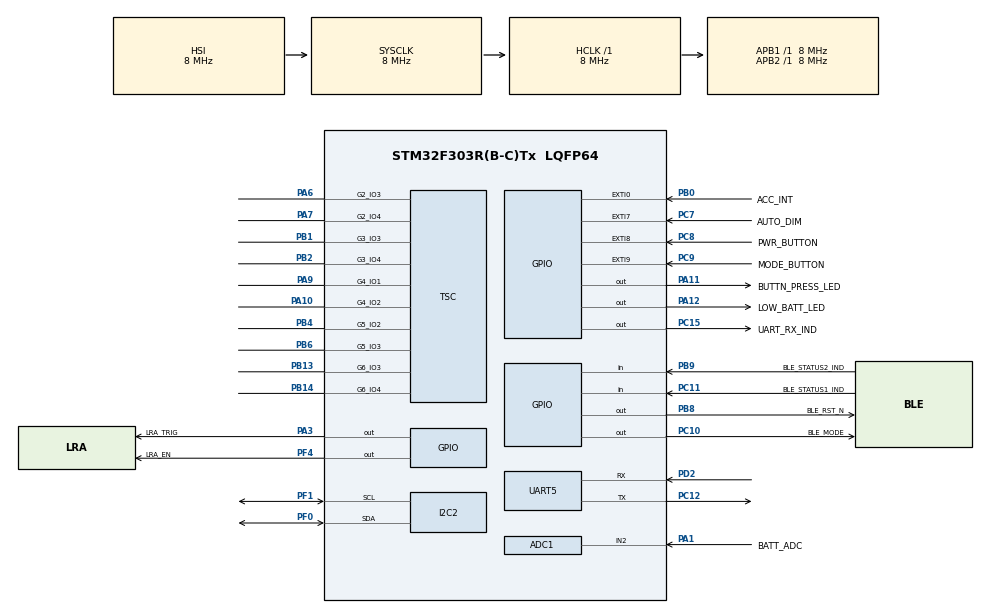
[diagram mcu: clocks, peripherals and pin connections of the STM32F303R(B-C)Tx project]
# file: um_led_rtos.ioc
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ADC1.Channel-0\#ChannelRegularConversion=ADC_CHANNEL_2
ADC1.NbrOfConversion=1
ADC1.NbrOfConversionFlag=1
ADC1.Offset-0\#ChannelRegularConversion=0
ADC1.OffsetNumber-0\#ChannelRegularConversion=ADC_OFFSET_NONE
ADC1.Rank-0\#ChannelRegularConversion=1
ADC1.SamplingTime-0\#ChannelRegularConversion=ADC_SAMPLETIME_601CYCLES_5
ADC1.master=1
FREERTOS.BinarySemaphores01=buttonPressSem,Dynamic,NULL;uartRecSem,Dynamic,NULL
FREERTOS.Mutexes01=I2C2_lock,Dynamic,NULL;blueLedLock,Dynamic,NULL;bm71Lock,Dynamic,NULL
FREERTOS.Tasks01=mainTask,24,300,StartMainTask,Default,NULL,Dynamic,NULL,NULL;buttonTask,29,64,StartButtonTask,Default,NULL,Dynamic,NULL,NULL;uartTask,27,128,StartUartRecTask,Default,NULL,Dynamic,NULL,NULL
FREERTOS.configMINIMAL_STACK_SIZE=64
FREERTOS.configUSE_NEWLIB_REENTRANT=1
Mcu.Family=STM32F3
Mcu.Name=STM32F303R(B-C)Tx
Mcu.Package=LQFP64
NVIC.EXTI0_IRQn=true\:5\:0\:true\:false\:true\:true\:true\:true\:true
NVIC.EXTI9_5_IRQn=true\:5\:0\:true\:false\:true\:true\:true\:true\:true
NVIC.PriorityGroup=NVIC_PRIORITYGROUP_4
NVIC.TIM6_DAC_IRQn=true\:15\:0\:false\:false\:true\:false\:false\:true\:true
NVIC.TimeBase=TIM6_DAC_IRQn
NVIC.TimeBaseIP=TIM6
NVIC.UART5_IRQn=true\:5\:0\:false\:false\:true\:true\:true\:true\:true
PA1.GPIO_Label=BATT_ADC
PA1.GPIO_Mode=GPIO_MODE_ANALOG
PA1.GPIO_PuPd=GPIO_NOPULL
PA1.Mode=IN2-Single-Ended
PA1.Signal=ADC1_IN2
PA10.Mode=G4_IO2-Channel
PA10.Signal=TSC_G4_IO2
PA11.GPIO_Label=BUTTN_PRESS_LED
PA11.PinState=GPIO_PIN_SET
PA11.Signal=GPIO_Output
PA12.GPIO_Label=LOW_BATT_LED
PA12.PinState=GPIO_PIN_SET
PA12.Signal=GPIO_Output
PA13.Mode=Trace_Asynchronous_SW
PA13.Signal=SYS_JTMS-SWDIO
PA14.Mode=Trace_Asynchronous_SW
PA14.Signal=SYS_JTCK-SWCLK
PA3.GPIO_Label=LRA_TRIG
PA3.Signal=GPIO_Output
PA6.Mode=G2_IO3-Sampling
PA6.Signal=TSC_G2_IO3
PA7.Mode=G2_IO4-Channel
PA7.Signal=TSC_G2_IO4
PA9.Mode=G4_IO1-Sampling
PA9.Signal=TSC_G4_IO1
PB0.GPIO_Label=ACC_INT
PB0.GPIO_ModeDefaultEXTI=GPIO_MODE_IT_RISING
PB0.Signal=GPXTI0
PB1.Mode=G3_IO3-Sampling
PB1.Signal=TSC_G3_IO3
PB13.Mode=G6_IO3-Sampling
PB13.Signal=TSC_G6_IO3
PB14.Mode=G6_IO4-Channel
PB14.Signal=TSC_G6_IO4
PB2.Mode=G3_IO4-Channel
PB2.Signal=TSC_G3_IO4
PB3.Mode=Trace_Asynchronous_SW
PB3.Signal=SYS_JTDO-TRACESWO
PB4.Mode=G5_IO2-Channel
PB4.Signal=TSC_G5_IO2
PB6.Mode=G5_IO3-Sampling
PB6.Signal=TSC_G5_IO3
PB8.GPIO_Label=BLE_RST_N
PB8.GPIO_ModeDefaultOutputPP=GPIO_MODE_OUTPUT_OD
PB8.GPIO_PuPd=GPIO_NOPULL
PB8.PinState=GPIO_PIN_SET
PB8.Signal=GPIO_Output
PB9.GPIO_Label=BLE_STATUS2_IND
PB9.Signal=GPIO_Input
PC10.GPIO_Label=BLE_MODE
PC10.GPIO_ModeDefaultOutputPP=GPIO_MODE_OUTPUT_OD
PC10.GPIO_PuPd=GPIO_NOPULL
PC10.PinState=GPIO_PIN_SET
PC10.Signal=GPIO_Output
PC11.GPIO_Label=BLE_STATUS1_IND
PC11.Signal=GPIO_Input
PC12.Mode=Asynchronous
PC12.Signal=UART5_TX
PC15-OSC32_OUT.GPIO_Label=UART_RX_IND
PC15-OSC32_OUT.Signal=GPIO_Output
PC7.GPIO_Label=AUTO_DIM
PC7.GPIO_ModeDefaultEXTI=GPIO_MODE_IT_FALLING
PC7.GPIO_PuPd=GPIO_PULLUP
PC7.Signal=GPXTI7
PC8.GPIO_Label=PWR_BUTTON
PC8.GPIO_ModeDefaultEXTI=GPIO_MODE_IT_FALLING
PC8.GPIO_PuPd=GPIO_PULLUP
PC8.Signal=GPXTI8
PC9.GPIO_Label=MODE_BUTTON
PC9.GPIO_ModeDefaultEXTI=GPIO_MODE_IT_FALLING
PC9.GPIO_PuPd=GPIO_PULLUP
PC9.Signal=GPXTI9
PD2.Mode=Asynchronous
PD2.Signal=UART5_RX
PF0-OSC_IN.GPIO_Mode=GPIO_MODE_AF_OD
PF0-OSC_IN.GPIO_Pu=GPIO_NOPULL
PF0-OSC_IN.Mode=I2C
PF0-OSC_IN.Signal=I2C2_SDA
PF1-OSC_OUT.Mode=I2C
PF1-OSC_OUT.Signal=I2C2_SCL
PF4.GPIO_Label=LRA_EN
PF4.PinState=GPIO_PIN_SET
PF4.Signal=GPIO_Output
ProjectManager.HeapSize=0x200
ProjectManager.StackSize=0x400
ProjectManager.TargetToolchain=STM32CubeIDE
RCC.AHBFreq_Value=8000000
RCC.APB1Freq_Value=8000000
RCC.APB1TimFreq_Value=8000000
RCC.APB2Freq_Value=8000000
RCC.APB2TimFreq_Value=8000000
RCC.CortexFreq_Value=8000000
RCC.HCLKFreq_Value=8000000
RCC.HSE_VALUE=8000000
RCC.HSI_VALUE=8000000
RCC.LSE_VALUE=32768
RCC.PLLMUL=RCC_PLL_MUL4
RCC.SYSCLKFreq_VALUE=8000000
RCC.USBFreq_Value=16000000
TOUCHSENSING.IO_5CH_LIN_M1_NBR1_CH1=G5_IO2
TOUCHSENSING.IO_5CH_LIN_M1_NBR1_CH1-TouchSensing_Enabled=G5_IO2
TOUCHSENSING.IO_5CH_LIN_M1_NBR1_CH2=G4_IO2
TOUCHSENSING.IO_5CH_LIN_M1_NBR1_CH3=G6_IO4
TOUCHSENSING.IO_5CH_LIN_M1_NBR1_CH4=G3_IO4
TOUCHSENSING.IO_5CH_LIN_M1_NBR1_CH5=G2_IO4
TOUCHSENSING.TSLPRM_LINROT_RESOLUTION=8
TOUCHSENSING.TSLPRM_SENSORS_DATAS=TSLPRM_USE_5CH_LIN_M1_NBR1 1 5 
TOUCHSENSING.TSLPRM_USE_4CH_LIN_M1=1
TOUCHSENSING.TSLPRM_USE_4CH_LIN_M1_NBR=0
TOUCHSENSING.TSLPRM_USE_5CH_LIN_M1=1
TOUCHSENSING.TSLPRM_USE_5CH_LIN_M1_NBR=1
TSC.CTPulseHighLength=TSC_CTPH_4CYCLES
TSC.CTPulseLowLength=TSC_CTPL_4CYCLES
TSC.ChannelIOs-G2_IO4=TSC_GROUP2_IO4
TSC.ChannelIOs-G3_IO4=TSC_GROUP3_IO4
TSC.ChannelIOs-G4_IO2=TSC_GROUP4_IO2
TSC.ChannelIOs-G5_IO2=TSC_GROUP5_IO2
TSC.ChannelIOs-G6_IO4=TSC_GROUP6_IO4
TSC.MaxCountValue=TSC_MCV_8191
TSC.PulseGeneratorPrescaler=TSC_PG_PRESC_DIV4
TSC.SamplingIOs-G2_IO3=TSC_GROUP2_IO3
TSC.SamplingIOs-G3_IO3=TSC_GROUP3_IO3
TSC.SamplingIOs-G4_IO1=TSC_GROUP4_IO1
TSC.SamplingIOs-G5_IO3=TSC_GROUP5_IO3
TSC.SamplingIOs-G6_IO3=TSC_GROUP6_IO3
VP_FREERTOS_VS_CMSIS_V2.Mode=CMSIS_V2
VP_SYS_VS_tim6.Mode=TIM6
VP_TOUCHSENSING_VS_TOUCHSENSING.Mode=TouchSensing_Enabled
board=custom

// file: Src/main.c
/* USER CODE BEGIN Header */
/**
  ******************************************************************************
  * @file           : main.c
  * @brief          : Main program body
  ******************************************************************************
  * @attention
  *
  * Copyright (c) 2025 STMicroelectronics.
  * All rights reserved.
  *
  * This software is licensed under terms that can be found in the LICENSE file
  * in the root directory of this software component.
  * If no LICENSE file comes with this software, it is provided AS-IS.
  *
  ******************************************************************************
  */
/* USER CODE END Header */
#include "main.h"
#include "cmsis_os.h"
#include "touchsensing.h"

/* USER CODE BEGIN Includes */
#include <stdio.h>
#include "tsl_user.h"
#include "drv2605l.h"
#include "mc3416.h"
#include <stdbool.h>
#include "math.h"
#include "stdlib.h"
#include "led.h"
#include "slider.h"
#include "bm71.h"
/* USER CODE END Includes */

/* USER CODE BEGIN PTD */
typedef enum {
	NONE,
	MODE,
	AUTODIM,
	POWER
} button_t;
/* USER CODE END PTD */

ADC_HandleTypeDef hadc1;

I2C_HandleTypeDef hi2c2;

TSC_HandleTypeDef htsc;

UART_HandleTypeDef huart5;

/* Definitions for mainTask */
osThreadId_t mainTaskHandle;
const osThreadAttr_t mainTask_attributes = {
  .name = "mainTask",
  .stack_size = 300 * 4,
  .priority = (osPriority_t) osPriorityNormal,
};
/* Definitions for buttonTask */
osThreadId_t buttonTaskHandle;
const osThreadAttr_t buttonTask_attributes = {
  .name = "buttonTask",
  .stack_size = 64 * 4,
  .priority = (osPriority_t) osPriorityNormal5,
};
/* Definitions for uartTask */
osThreadId_t uartTaskHandle;
const osThreadAttr_t uartTask_attributes = {
  .name = "uartTask",
  .stack_size = 128 * 4,
  .priority = (osPriority_t) osPriorityNormal3,
};
/* Definitions for I2C2_lock */
osMutexId_t I2C2_lockHandle;
const osMutexAttr_t I2C2_lock_attributes = {
  .name = "I2C2_lock"
};
/* Definitions for blueLedLock */
osMutexId_t blueLedLockHandle;
const osMutexAttr_t blueLedLock_attributes = {
  .name = "blueLedLock"
};
/* Definitions for bm71Lock */
osMutexId_t bm71LockHandle;
const osMutexAttr_t bm71Lock_attributes = {
  .name = "bm71Lock"
};
/* Definitions for buttonPressSem */
osSemaphoreId_t buttonPressSemHandle;
const osSemaphoreAttr_t buttonPressSem_attributes = {
  .name = "buttonPressSem"
};
/* Definitions for uartRecSem */
osSemaphoreId_t uartRecSemHandle;
const osSemaphoreAttr_t uartRecSem_attributes = {
  .name = "uartRecSem"
};
/* USER CODE BEGIN PV */
uint32_t currentTime;
uint32_t previousTime = 0;
volatile uint32_t lastActivity = 0;
uint32_t lastPwrPress = 0;
uint32_t lastModePress = 0;
uint32_t lastAutoDimPress = 0;
uint32_t lastMotion = 0;
uint32_t bleResetTime = 0;
uint32_t lastBattCheck = 0;
volatile bool modePressed = false;
volatile bool autoDimPresssed = false;
volatile bool pwrPressed = false;
volatile button_t buttonPressed = NONE; // in future, use flag/mask. for now this is fine as button presses are sparse
volatile bool toggleBlueActive;
/* USER CODE END PV */

void SystemClock_Config(void);
static void MX_GPIO_Init(void);
static void MX_TSC_Init(void);
static void MX_ADC1_Init(void);
static void MX_I2C2_Init(void);
static void MX_UART5_Init(void);
void StartMainTask(void *argument);
void StartButtonTask(void *argument);
void StartUartRecTask(void *argument);

int main(void)
{
  /* USER CODE BEGIN 1 */
//	printf("here!\n"); // avoid printf in RTOS
  /* USER CODE END 1 */

  /* MCU Configuration--------------------------------------------------------*/

  /* Reset of all peripherals, Initializes the Flash interface and the Systick. */
  HAL_Init();

  /* Configure the system clock */
  SystemClock_Config();

  /* Initialize all configured peripherals */
  MX_GPIO_Init();
  MX_TSC_Init();
  MX_ADC1_Init();
  MX_I2C2_Init();
  MX_TOUCHSENSING_Init();
  MX_UART5_Init();
  /* USER CODE BEGIN 2 */

  // ---------- USER PERIPHERAL INIT BEGIN ------------
  BM71_Init(&huart5);
  DRV2605L_Init(&hi2c2);
  DRV2605L_SequenceWaveform(7, 1);
  MC3416_Init(&hi2c2);
  // ---------- USER PERIPHERAL INIT END ------------

//  DRV2605L_SequenceWaveform(7, 1);
//  BM71_ReadDeviceName();
  /* USER CODE END 2 */

  /* Init scheduler */
  osKernelInitialize();
  /* Create the mutex(es) */
  /* creation of I2C2_lock */
  I2C2_lockHandle = osMutexNew(&I2C2_lock_attributes);

  /* creation of blueLedLock */
  blueLedLockHandle = osMutexNew(&blueLedLock_attributes);

  /* creation of bm71Lock */
  bm71LockHandle = osMutexNew(&bm71Lock_attributes);

  /* Create the semaphores(s) */
  /* creation of buttonPressSem */
  buttonPressSemHandle = osSemaphoreNew(1, 0, &buttonPressSem_attributes);

  /* creation of uartRecSem */
  uartRecSemHandle = osSemaphoreNew(1, 0, &uartRecSem_attributes);

  /* Create the thread(s) */
  /* creation of mainTask */
  mainTaskHandle = osThreadNew(StartMainTask, NULL, &mainTask_attributes);

  /* creation of buttonTask */
  buttonTaskHandle = osThreadNew(StartButtonTask, NULL, &buttonTask_attributes);

  /* creation of uartTask */
  uartTaskHandle = osThreadNew(StartUartRecTask, NULL, &uartTask_attributes);

  /* Start scheduler */
  osKernelStart();

  /* We should never get here as control is now taken by the scheduler */
  /* Infinite loop */
  while (1)
  {

  }
}

void SystemClock_Config(void)
{
  RCC_OscInitTypeDef RCC_OscInitStruct = {0};
  RCC_ClkInitTypeDef RCC_ClkInitStruct = {0};
  RCC_PeriphCLKInitTypeDef PeriphClkInit = {0};

  /** Initializes the RCC Oscillators according to the specified parameters
  * in the RCC_OscInitTypeDef structure.
  */
  RCC_OscInitStruct.OscillatorType = RCC_OSCILLATORTYPE_HSI;
  RCC_OscInitStruct.HSIState = RCC_HSI_ON;
  RCC_OscInitStruct.HSICalibrationValue = RCC_HSICALIBRATION_DEFAULT;
  RCC_OscInitStruct.PLL.PLLState = RCC_PLL_ON;
  RCC_OscInitStruct.PLL.PLLSource = RCC_PLLSOURCE_HSI;
  RCC_OscInitStruct.PLL.PLLMUL = RCC_PLL_MUL4;
  if (HAL_RCC_OscConfig(&RCC_OscInitStruct) != HAL_OK)
  {
    Error_Handler();
  }

  /** Initializes the CPU, AHB and APB buses clocks
  */
  RCC_ClkInitStruct.ClockType = RCC_CLOCKTYPE_HCLK|RCC_CLOCKTYPE_SYSCLK
                              |RCC_CLOCKTYPE_PCLK1|RCC_CLOCKTYPE_PCLK2;
  RCC_ClkInitStruct.SYSCLKSource = RCC_SYSCLKSOURCE_HSI;
  RCC_ClkInitStruct.AHBCLKDivider = RCC_SYSCLK_DIV1;
  RCC_ClkInitStruct.APB1CLKDivider = RCC_HCLK_DIV1;
  RCC_ClkInitStruct.APB2CLKDivider = RCC_HCLK_DIV1;

  if (HAL_RCC_ClockConfig(&RCC_ClkInitStruct, FLASH_LATENCY_0) != HAL_OK)
  {
    Error_Handler();
  }
  PeriphClkInit.PeriphClockSelection = RCC_PERIPHCLK_UART5|RCC_PERIPHCLK_I2C2
                              |RCC_PERIPHCLK_ADC12;
  PeriphClkInit.Uart5ClockSelection = RCC_UART5CLKSOURCE_PCLK1;
  PeriphClkInit.Adc12ClockSelection = RCC_ADC12PLLCLK_DIV1;
  PeriphClkInit.I2c2ClockSelection = RCC_I2C2CLKSOURCE_HSI;
  if (HAL_RCCEx_PeriphCLKConfig(&PeriphClkInit) != HAL_OK)
  {
    Error_Handler();
  }
}

static void MX_ADC1_Init(void)
{

  ADC_MultiModeTypeDef multimode = {0};
  ADC_ChannelConfTypeDef sConfig = {0};

  /** Common config
  */
  hadc1.Instance = ADC1;
  hadc1.Init.ClockPrescaler = ADC_CLOCK_ASYNC_DIV1;
  hadc1.Init.Resolution = ADC_RESOLUTION_12B;
  hadc1.Init.ScanConvMode = ADC_SCAN_DISABLE;
  hadc1.Init.ContinuousConvMode = DISABLE;
  hadc1.Init.DiscontinuousConvMode = DISABLE;
  hadc1.Init.ExternalTrigConvEdge = ADC_EXTERNALTRIGCONVEDGE_NONE;
  hadc1.Init.ExternalTrigConv = ADC_SOFTWARE_START;
  hadc1.Init.DataAlign = ADC_DATAALIGN_RIGHT;
  hadc1.Init.NbrOfConversion = 1;
  hadc1.Init.DMAContinuousRequests = DISABLE;
  hadc1.Init.EOCSelection = ADC_EOC_SINGLE_CONV;
  hadc1.Init.LowPowerAutoWait = DISABLE;
  hadc1.Init.Overrun = ADC_OVR_DATA_OVERWRITTEN;
  if (HAL_ADC_Init(&hadc1) != HAL_OK)
  {
    Error_Handler();
  }

  /** Configure the ADC multi-mode
  */
  multimode.Mode = ADC_MODE_INDEPENDENT;
  if (HAL_ADCEx_MultiModeConfigChannel(&hadc1, &multimode) != HAL_OK)
  {
    Error_Handler();
  }

  /** Configure Regular Channel
  */
  sConfig.Channel = ADC_CHANNEL_2;
  sConfig.Rank = ADC_REGULAR_RANK_1;
  sConfig.SingleDiff = ADC_SINGLE_ENDED;
  sConfig.SamplingTime = ADC_SAMPLETIME_601CYCLES_5;
  sConfig.OffsetNumber = ADC_OFFSET_NONE;
  sConfig.Offset = 0;
  if (HAL_ADC_ConfigChannel(&hadc1, &sConfig) != HAL_OK)
  {
    Error_Handler();
  }

}

static void MX_I2C2_Init(void)
{

  hi2c2.Instance = I2C2;
  hi2c2.Init.Timing = 0x2000090E;
  hi2c2.Init.OwnAddress1 = 0;
  hi2c2.Init.AddressingMode = I2C_ADDRESSINGMODE_7BIT;
  hi2c2.Init.DualAddressMode = I2C_DUALADDRESS_DISABLE;
  hi2c2.Init.OwnAddress2 = 0;
  hi2c2.Init.OwnAddress2Masks = I2C_OA2_NOMASK;
  hi2c2.Init.GeneralCallMode = I2C_GENERALCALL_DISABLE;
  hi2c2.Init.NoStretchMode = I2C_NOSTRETCH_DISABLE;
  if (HAL_I2C_Init(&hi2c2) != HAL_OK)
  {
    Error_Handler();
  }

  /** Configure Analogue filter
  */
  if (HAL_I2CEx_ConfigAnalogFilter(&hi2c2, I2C_ANALOGFILTER_ENABLE) != HAL_OK)
  {
    Error_Handler();
  }

  /** Configure Digital filter
  */
  if (HAL_I2CEx_ConfigDigitalFilter(&hi2c2, 0) != HAL_OK)
  {
    Error_Handler();
  }

}

static void MX_TSC_Init(void)
{

  /** Configure the TSC peripheral
  */
  htsc.Instance = TSC;
  htsc.Init.CTPulseHighLength = TSC_CTPH_4CYCLES;
  htsc.Init.CTPulseLowLength = TSC_CTPL_4CYCLES;
  htsc.Init.SpreadSpectrum = DISABLE;
  htsc.Init.SpreadSpectrumDeviation = 1;
  htsc.Init.SpreadSpectrumPrescaler = TSC_SS_PRESC_DIV1;
  htsc.Init.PulseGeneratorPrescaler = TSC_PG_PRESC_DIV4;
  htsc.Init.MaxCountValue = TSC_MCV_8191;
  htsc.Init.IODefaultMode = TSC_IODEF_OUT_PP_LOW;
  htsc.Init.SynchroPinPolarity = TSC_SYNC_POLARITY_FALLING;
  htsc.Init.AcquisitionMode = TSC_ACQ_MODE_NORMAL;
  htsc.Init.MaxCountInterrupt = DISABLE;
  htsc.Init.ChannelIOs = TSC_GROUP2_IO4|TSC_GROUP3_IO4|TSC_GROUP4_IO2|TSC_GROUP5_IO2
                    |TSC_GROUP6_IO4;
  htsc.Init.ShieldIOs = 0;
  htsc.Init.SamplingIOs = TSC_GROUP2_IO3|TSC_GROUP3_IO3|TSC_GROUP4_IO1|TSC_GROUP5_IO3
                    |TSC_GROUP6_IO3;
  if (HAL_TSC_Init(&htsc) != HAL_OK)
  {
    Error_Handler();
  }

}

static void MX_UART5_Init(void)
{

  huart5.Instance = UART5;
  huart5.Init.BaudRate = 115200;
  huart5.Init.WordLength = UART_WORDLENGTH_8B;
  huart5.Init.StopBits = UART_STOPBITS_1;
  huart5.Init.Parity = UART_PARITY_NONE;
  huart5.Init.Mode = UART_MODE_TX_RX;
  huart5.Init.HwFlowCtl = UART_HWCONTROL_NONE;
  huart5.Init.OverSampling = UART_OVERSAMPLING_16;
  huart5.Init.OneBitSampling = UART_ONE_BIT_SAMPLE_DISABLE;
  huart5.AdvancedInit.AdvFeatureInit = UART_ADVFEATURE_NO_INIT;
  if (HAL_UART_Init(&huart5) != HAL_OK)
  {
    Error_Handler();
  }

}

static void MX_GPIO_Init(void)
{
  GPIO_InitTypeDef GPIO_InitStruct = {0};

  /* GPIO Ports Clock Enable */
  __HAL_RCC_GPIOC_CLK_ENABLE();
  __HAL_RCC_GPIOF_CLK_ENABLE();
  __HAL_RCC_GPIOA_CLK_ENABLE();
  __HAL_RCC_GPIOB_CLK_ENABLE();
  __HAL_RCC_GPIOD_CLK_ENABLE();

  /*Configure GPIO pin Output Level */
  HAL_GPIO_WritePin(UART_RX_IND_GPIO_Port, UART_RX_IND_Pin, GPIO_PIN_RESET);

  /*Configure GPIO pin Output Level */
  HAL_GPIO_WritePin(LRA_TRIG_GPIO_Port, LRA_TRIG_Pin, GPIO_PIN_RESET);

  /*Configure GPIO pin Output Level */
  HAL_GPIO_WritePin(LRA_EN_GPIO_Port, LRA_EN_Pin, GPIO_PIN_SET);

  /*Configure GPIO pin Output Level */
  HAL_GPIO_WritePin(GPIOA, BUTTN_PRESS_LED_Pin|LOW_BATT_LED_Pin, GPIO_PIN_SET);

  /*Configure GPIO pin Output Level */
  HAL_GPIO_WritePin(BLE_MODE_GPIO_Port, BLE_MODE_Pin, GPIO_PIN_SET);

  /*Configure GPIO pin Output Level */
  HAL_GPIO_WritePin(BLE_RST_N_GPIO_Port, BLE_RST_N_Pin, GPIO_PIN_SET);

  /*Configure GPIO pins : PC13 PC14 PC0 PC1
                           PC2 PC3 PC4 PC5
                           PC6 */
  GPIO_InitStruct.Pin = GPIO_PIN_13|GPIO_PIN_14|GPIO_PIN_0|GPIO_PIN_1
                          |GPIO_PIN_2|GPIO_PIN_3|GPIO_PIN_4|GPIO_PIN_5
                          |GPIO_PIN_6;
  GPIO_InitStruct.Mode = GPIO_MODE_ANALOG;
  GPIO_InitStruct.Pull = GPIO_NOPULL;
  HAL_GPIO_Init(GPIOC, &GPIO_InitStruct);

  /*Configure GPIO pin : UART_RX_IND_Pin */
  GPIO_InitStruct.Pin = UART_RX_IND_Pin;
  GPIO_InitStruct.Mode = GPIO_MODE_OUTPUT_PP;
  GPIO_InitStruct.Pull = GPIO_NOPULL;
  GPIO_InitStruct.Speed = GPIO_SPEED_FREQ_LOW;
  HAL_GPIO_Init(UART_RX_IND_GPIO_Port, &GPIO_InitStruct);

  /*Configure GPIO pins : PA0 PA2 PA4 PA5
                           PA8 PA15 */
  GPIO_InitStruct.Pin = GPIO_PIN_0|GPIO_PIN_2|GPIO_PIN_4|GPIO_PIN_5
                          |GPIO_PIN_8|GPIO_PIN_15;
  GPIO_InitStruct.Mode = GPIO_MODE_ANALOG;
  GPIO_InitStruct.Pull = GPIO_NOPULL;
  HAL_GPIO_Init(GPIOA, &GPIO_InitStruct);

  /*Configure GPIO pins : LRA_TRIG_Pin BUTTN_PRESS_LED_Pin LOW_BATT_LED_Pin */
  GPIO_InitStruct.Pin = LRA_TRIG_Pin|BUTTN_PRESS_LED_Pin|LOW_BATT_LED_Pin;
  GPIO_InitStruct.Mode = GPIO_MODE_OUTPUT_PP;
  GPIO_InitStruct.Pull = GPIO_NOPULL;
  GPIO_InitStruct.Speed = GPIO_SPEED_FREQ_LOW;
  HAL_GPIO_Init(GPIOA, &GPIO_InitStruct);

  /*Configure GPIO pin : LRA_EN_Pin */
  GPIO_InitStruct.Pin = LRA_EN_Pin;
  GPIO_InitStruct.Mode = GPIO_MODE_OUTPUT_PP;
  GPIO_InitStruct.Pull = GPIO_NOPULL;
  GPIO_InitStruct.Speed = GPIO_SPEED_FREQ_LOW;
  HAL_GPIO_Init(LRA_EN_GPIO_Port, &GPIO_InitStruct);

  /*Configure GPIO pin : ACC_INT_Pin */
  GPIO_InitStruct.Pin = ACC_INT_Pin;
  GPIO_InitStruct.Mode = GPIO_MODE_IT_RISING;
  GPIO_InitStruct.Pull = GPIO_NOPULL;
  HAL_GPIO_Init(ACC_INT_GPIO_Port, &GPIO_InitStruct);

  /*Configure GPIO pins : PB10 PB11 PB12 PB15
                           PB5 PB7 */
  GPIO_InitStruct.Pin = GPIO_PIN_10|GPIO_PIN_11|GPIO_PIN_12|GPIO_PIN_15
                          |GPIO_PIN_5|GPIO_PIN_7;
  GPIO_InitStruct.Mode = GPIO_MODE_ANALOG;
  GPIO_InitStruct.Pull = GPIO_NOPULL;
  HAL_GPIO_Init(GPIOB, &GPIO_InitStruct);

  /*Configure GPIO pins : AUTO_DIM_Pin PWR_BUTTON_Pin MODE_BUTTON_Pin */
  GPIO_InitStruct.Pin = AUTO_DIM_Pin|PWR_BUTTON_Pin|MODE_BUTTON_Pin;
  GPIO_InitStruct.Mode = GPIO_MODE_IT_FALLING;
  GPIO_InitStruct.Pull = GPIO_PULLUP;
  HAL_GPIO_Init(GPIOC, &GPIO_InitStruct);

  /*Configure GPIO pin : BLE_MODE_Pin */
  GPIO_InitStruct.Pin = BLE_MODE_Pin;
  GPIO_InitStruct.Mode = GPIO_MODE_OUTPUT_OD;
  GPIO_InitStruct.Pull = GPIO_NOPULL;
  GPIO_InitStruct.Speed = GPIO_SPEED_FREQ_LOW;
  HAL_GPIO_Init(BLE_MODE_GPIO_Port, &GPIO_InitStruct);

  /*Configure GPIO pin : BLE_STATUS1_IND_Pin */
  GPIO_InitStruct.Pin = BLE_STATUS1_IND_Pin;
  GPIO_InitStruct.Mode = GPIO_MODE_INPUT;
  GPIO_InitStruct.Pull = GPIO_NOPULL;
  HAL_GPIO_Init(BLE_STATUS1_IND_GPIO_Port, &GPIO_InitStruct);

  /*Configure GPIO pin : BLE_RST_N_Pin */
  GPIO_InitStruct.Pin = BLE_RST_N_Pin;
  GPIO_InitStruct.Mode = GPIO_MODE_OUTPUT_OD;
  GPIO_InitStruct.Pull = GPIO_NOPULL;
  GPIO_InitStruct.Speed = GPIO_SPEED_FREQ_LOW;
  HAL_GPIO_Init(BLE_RST_N_GPIO_Port, &GPIO_InitStruct);

  /*Configure GPIO pin : BLE_STATUS2_IND_Pin */
  GPIO_InitStruct.Pin = BLE_STATUS2_IND_Pin;
  GPIO_InitStruct.Mode = GPIO_MODE_INPUT;
  GPIO_InitStruct.Pull = GPIO_NOPULL;
  HAL_GPIO_Init(BLE_STATUS2_IND_GPIO_Port, &GPIO_InitStruct);

  /* EXTI interrupt init*/
  HAL_NVIC_SetPriority(EXTI0_IRQn, 5, 0);
  HAL_NVIC_EnableIRQ(EXTI0_IRQn);

  HAL_NVIC_SetPriority(EXTI9_5_IRQn, 5, 0);
  HAL_NVIC_EnableIRQ(EXTI9_5_IRQn);

}

/* USER CODE BEGIN 4 */
int _write(int file, char *ptr, int len)
{
  (void)file;
  int DataIdx;

  for (DataIdx = 0; DataIdx < len; DataIdx++)
  {
    ITM_SendChar(*ptr++);
  }
  return len;
}

void HAL_GPIO_EXTI_Callback(uint16_t GPIO_Pin) {
	switch(GPIO_Pin)
	{
	case PWR_BUTTON_Pin:
		// reset IDLE timer.
		if (HAL_GetTick() - lastPwrPress > 200) {;
			buttonPressed = POWER;
			lastPwrPress = lastActivity = HAL_GetTick();
			osSemaphoreRelease(buttonPressSemHandle);
		}
		// blink BTTN PRESS LED Twice
		// send UART Command to BLE
		break;
	case MODE_BUTTON_Pin:
		if (HAL_GetTick() - lastModePress > 200) {;
			buttonPressed = MODE;
			lastModePress = lastActivity = HAL_GetTick();
			osSemaphoreRelease(buttonPressSemHandle);
		}
		// blink BTTN PRESS LED Twice
		// send UART Command to BLE
		break;
	case AUTO_DIM_Pin:
		if (HAL_GetTick() - lastAutoDimPress > 200) {;
			buttonPressed = AUTODIM;
			lastAutoDimPress = lastActivity = HAL_GetTick();
			osSemaphoreRelease(buttonPressSemHandle);
		}
		// blink BTTN PRESS LED Twice
		// send UART Command to BLE
		break;
	case ACC_INT_Pin:
//		printf("acc_int_ INTERRUPT!\n"); // avoid printf in RTOS
		if (HAL_GetTick() - lastMotion > 200) {
			lastMotion = lastActivity = HAL_GetTick();
		}
		// send UART Command to BLE
		break;

	}
}

/*
 * Receives bm71 UART responses in background.
 *
 * Although unlikely, rxBuf and rxBufSize could IN THEORY be overwritten by this interrupt
 * while a previous bm71_ParseResponse is running.
 *
 * In future, if this actually becomes an issue, use some sort of circular buffer to
 * avoid contention over the RxBuf and its size.
 */
void HAL_UARTEx_RxEventCallback(UART_HandleTypeDef *huart, uint16_t Size)
{
  if (BM71_GetHandle() == huart) {
	  BM71_SetRxSize(Size);
	  HAL_UARTEx_ReceiveToIdle_IT(BM71_GetHandle(), BM71_GetRxBuf(), 256); // lthough unlikely, rxBuf in theory could be overwritten with bm71 asynch response while in parse function. deal with later, insignificant issue.
	  osSemaphoreRelease(uartRecSemHandle);
  }
}

/* USER CODE END 4 */

void StartMainTask(void *argument)
{
  /* USER CODE BEGIN 5 */
  /* Infinite loop */
  for(;;)
  {

	  if (HAL_GetTick() - lastActivity >= 10000) {

		  	  // sleep user peripherals
		  	  osMutexAcquire(bm71LockHandle, osWaitForever); // wait to avoid sleeping if separate task is modifying bm71 state
			  BM71_Sleep();
			  DRV2605L_Disable();
			  TurnOffAllLED();

			  // disable clocks
			  HAL_SuspendTick();
			  SysTick->CTRL &= ~SysTick_CTRL_TICKINT_Msk; // temporary (else RTOS tick wakes us up)

			  // enter stop mode
			  HAL_PWR_EnterSTOPMode(PWR_MAINREGULATOR_ON, PWR_STOPENTRY_WFI);

			  // enable clocks
			  SystemClock_Config();
			  SysTick->CTRL |= SysTick_CTRL_TICKINT_Msk; // temporary (else RTOS tick wakes us up)
			  HAL_ResumeTick();

			  // wake user peripherals & notify user
			  TurnOnBlueLED();
			  BM71_Wake();
		  	  osMutexRelease(bm71LockHandle); // wait JUST IN CASE a task is affecting internal bm71 state. (will likely never happen).
			  DRV2605L_Enable();
			  DRV2605L_TriggerHaptics(); // needs 250us to accept i2c commands.
			  lastActivity = HAL_GetTick(); // does not include time spent in STOP. fine for our use case.
		  }

		  // check TSC (touch) readings
		  if (tsl_user_Exec() != TSL_USER_STATUS_BUSY) {
		      ProcessTouch();
		  }

	//	  if (bm71_GetStatus() == STANDBY && !bm71_ConnectionPending()) {
	//		  bm71_ConnectToDisplay();
	//	  }

		  // check battery status (could do extra task for this, but RAM usage limited)
		  uint32_t currTime = HAL_GetTick();
		  if (currTime - lastBattCheck > 2000) { // abstract away this timing function into the led driver
			  CheckLowBatt(&hadc1);
			  lastBattCheck = currTime;
		  }
    osDelay(10); // TSC doesn't work properly without some sort of delay. fix later
  }
  /* USER CODE END 5 */
}

void StartButtonTask(void *argument)
{
  /* USER CODE BEGIN StartButtonTask */
  /* Infinite loop */
  for(;;)
  {
	  // wakes on button press GPIO/EXTI interrupt releasing semaphore.
  	  osSemaphoreAcquire(buttonPressSemHandle, osWaitForever);
  	  osMutexAcquire(bm71LockHandle, osWaitForever); // wait if another task is affecting internal state of bm71
	  if (buttonPressed != NONE) {
		  switch (buttonPressed) { // could make bitmask if dealing  with multiple presses. but presses are fast and sparse. not needed now.
			case MODE:
				BM71_CommandDisplay(COMMAND, 0);
				break;
			case AUTODIM:
				BM71_CommandDisplay(COMMAND, 1); //
				break;
			case POWER:
				BM71_CommandDisplay(COMMAND, 2);//
				break;
			default:
				break;
		}
		osMutexRelease(bm71LockHandle);
		  buttonPressed = NONE;

		  // could implement in separate task, but presses are sparse. works for now, change later if needed.
		  TurnOnBlueLED();
		  osDelay(50); // task sleep 50ms

		  TurnOffBlueLED();
		  osDelay(50);

		  TurnOnBlueLED();
		  osDelay(50);

		  TurnOffBlueLED();
	  }
  }
  /* USER CODE END StartButtonTask */
}

void StartUartRecTask(void *argument)
{
  /* USER CODE BEGIN StartUartRecTask */
  /* Infinite loop */
  for(;;)
  {
	// wakes on rxEventISR to releasing semaphore.
	// not too much different from rxReady signal we had in superloop.
	osSemaphoreAcquire(uartRecSemHandle, osWaitForever);
	osMutexAcquire(bm71LockHandle, osWaitForever); // wait if another task is affecting internal state of bm71
    BM71_ParseResponse();
    osMutexRelease(bm71LockHandle);
  }
  /* USER CODE END StartUartRecTask */
}

void HAL_TIM_PeriodElapsedCallback(TIM_HandleTypeDef *htim)
{
  if (htim->Instance == TIM6) {
    HAL_IncTick();
  }
}

void Error_Handler(void)
{
  __disable_irq();
  while (1)
  {
  }
}
